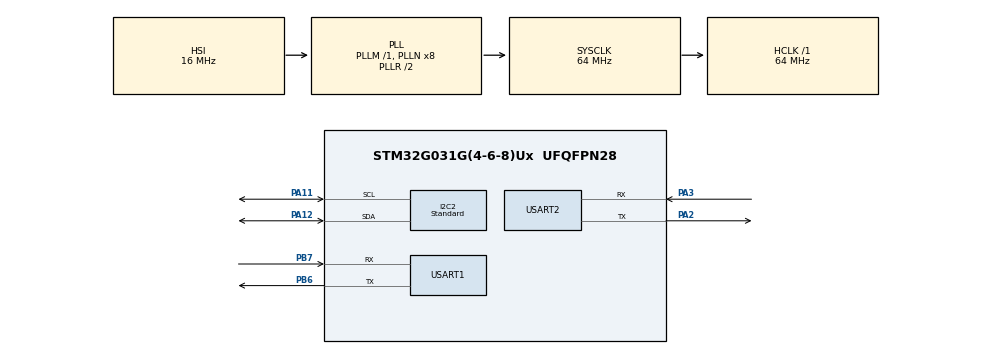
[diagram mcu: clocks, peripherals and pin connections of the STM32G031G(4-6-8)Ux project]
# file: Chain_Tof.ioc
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Dma.Request0=USART1_RX
Dma.Request1=USART1_TX
Dma.Request2=USART2_RX
Dma.Request3=USART2_TX
Dma.USART1_RX.0.Direction=DMA_PERIPH_TO_MEMORY
Dma.USART1_RX.0.EventEnable=DISABLE
Dma.USART1_RX.0.Instance=DMA1_Channel1
Dma.USART1_RX.0.MemDataAlignment=DMA_MDATAALIGN_BYTE
Dma.USART1_RX.0.MemInc=DMA_MINC_ENABLE
Dma.USART1_RX.0.Mode=DMA_NORMAL
Dma.USART1_RX.0.PeriphDataAlignment=DMA_PDATAALIGN_BYTE
Dma.USART1_RX.0.PeriphInc=DMA_PINC_DISABLE
Dma.USART1_RX.0.Polarity=HAL_DMAMUX_REQ_GEN_RISING
Dma.USART1_RX.0.Priority=DMA_PRIORITY_LOW
Dma.USART1_RX.0.RequestNumber=1
Dma.USART1_RX.0.SignalID=NONE
Dma.USART1_RX.0.SyncEnable=DISABLE
Dma.USART1_RX.0.SyncPolarity=HAL_DMAMUX_SYNC_NO_EVENT
Dma.USART1_RX.0.SyncRequestNumber=1
Dma.USART1_RX.0.SyncSignalID=NONE
Dma.USART1_TX.1.Direction=DMA_MEMORY_TO_PERIPH
Dma.USART1_TX.1.EventEnable=DISABLE
Dma.USART1_TX.1.Instance=DMA1_Channel2
Dma.USART1_TX.1.MemDataAlignment=DMA_MDATAALIGN_BYTE
Dma.USART1_TX.1.MemInc=DMA_MINC_ENABLE
Dma.USART1_TX.1.Mode=DMA_NORMAL
Dma.USART1_TX.1.PeriphDataAlignment=DMA_PDATAALIGN_BYTE
Dma.USART1_TX.1.PeriphInc=DMA_PINC_DISABLE
Dma.USART1_TX.1.Polarity=HAL_DMAMUX_REQ_GEN_RISING
Dma.USART1_TX.1.Priority=DMA_PRIORITY_LOW
Dma.USART1_TX.1.RequestNumber=1
Dma.USART1_TX.1.SignalID=NONE
Dma.USART1_TX.1.SyncEnable=DISABLE
Dma.USART1_TX.1.SyncPolarity=HAL_DMAMUX_SYNC_NO_EVENT
Dma.USART1_TX.1.SyncRequestNumber=1
Dma.USART1_TX.1.SyncSignalID=NONE
Dma.USART2_RX.2.Direction=DMA_PERIPH_TO_MEMORY
Dma.USART2_RX.2.EventEnable=DISABLE
Dma.USART2_RX.2.Instance=DMA1_Channel3
Dma.USART2_RX.2.MemDataAlignment=DMA_MDATAALIGN_BYTE
Dma.USART2_RX.2.MemInc=DMA_MINC_ENABLE
Dma.USART2_RX.2.Mode=DMA_NORMAL
Dma.USART2_RX.2.PeriphDataAlignment=DMA_PDATAALIGN_BYTE
Dma.USART2_RX.2.PeriphInc=DMA_PINC_DISABLE
Dma.USART2_RX.2.Polarity=HAL_DMAMUX_REQ_GEN_RISING
Dma.USART2_RX.2.Priority=DMA_PRIORITY_LOW
Dma.USART2_RX.2.RequestNumber=1
Dma.USART2_RX.2.SignalID=NONE
Dma.USART2_RX.2.SyncEnable=DISABLE
Dma.USART2_RX.2.SyncPolarity=HAL_DMAMUX_SYNC_NO_EVENT
Dma.USART2_RX.2.SyncRequestNumber=1
Dma.USART2_RX.2.SyncSignalID=NONE
Dma.USART2_TX.3.Direction=DMA_MEMORY_TO_PERIPH
Dma.USART2_TX.3.EventEnable=DISABLE
Dma.USART2_TX.3.Instance=DMA1_Channel4
Dma.USART2_TX.3.MemDataAlignment=DMA_MDATAALIGN_BYTE
Dma.USART2_TX.3.MemInc=DMA_MINC_ENABLE
Dma.USART2_TX.3.Mode=DMA_NORMAL
Dma.USART2_TX.3.PeriphDataAlignment=DMA_PDATAALIGN_BYTE
Dma.USART2_TX.3.PeriphInc=DMA_PINC_DISABLE
Dma.USART2_TX.3.Polarity=HAL_DMAMUX_REQ_GEN_RISING
Dma.USART2_TX.3.Priority=DMA_PRIORITY_LOW
Dma.USART2_TX.3.RequestNumber=1
Dma.USART2_TX.3.SignalID=NONE
Dma.USART2_TX.3.SyncEnable=DISABLE
Dma.USART2_TX.3.SyncPolarity=HAL_DMAMUX_SYNC_NO_EVENT
Dma.USART2_TX.3.SyncRequestNumber=1
Dma.USART2_TX.3.SyncSignalID=NONE
I2C2.I2C_Speed_Mode=I2C_Standard
I2C2.Timing=0x10707DBC
IWDG.Prescaler=IWDG_PRESCALER_16
Mcu.Family=STM32G0
Mcu.Name=STM32G031G(4-6-8)Ux
Mcu.Package=UFQFPN28
NVIC.DMA1_Ch4_5_DMAMUX1_OVR_IRQn=true\:1\:0\:true\:false\:true\:false\:true\:true
NVIC.DMA1_Channel1_IRQn=true\:1\:0\:true\:false\:true\:false\:true\:true
NVIC.DMA1_Channel2_3_IRQn=true\:1\:0\:true\:false\:true\:false\:true\:true
NVIC.FLASH_IRQn=true\:1\:0\:true\:false\:true\:true\:true\:true
NVIC.TIM14_IRQn=true\:1\:0\:true\:false\:true\:true\:true\:true
NVIC.TIM16_IRQn=true\:1\:0\:true\:false\:true\:true\:true\:true
NVIC.TIM17_IRQn=true\:1\:0\:true\:false\:true\:true\:true\:true
NVIC.USART1_IRQn=true\:0\:0\:false\:false\:true\:false\:true\:true
NVIC.USART2_IRQn=true\:0\:0\:false\:false\:true\:false\:true\:true
PA11\ [PA9].Mode=I2C
PA11\ [PA9].Signal=I2C2_SCL
PA12\ [PA10].Mode=I2C
PA12\ [PA10].Signal=I2C2_SDA
PA2.GPIO_PuPd=GPIO_PULLUP
PA2.GPIO_Speed=GPIO_SPEED_FREQ_HIGH
PA2.Mode=Asynchronous
PA2.PinState=GPIO_PIN_RESET
PA2.Signal=USART2_TX
PA3.GPIO_PuPd=GPIO_PULLUP
PA3.GPIO_Speed=GPIO_SPEED_FREQ_HIGH
PA3.Mode=Asynchronous
PA3.PinState=GPIO_PIN_RESET
PA3.Signal=USART2_RX
PB6.GPIO_PuPd=GPIO_PULLUP
PB6.GPIO_Speed=GPIO_SPEED_FREQ_HIGH
PB6.Mode=Asynchronous
PB6.Signal=USART1_TX
PB7.GPIO_PuPd=GPIO_PULLUP
PB7.GPIO_Speed=GPIO_SPEED_FREQ_HIGH
PB7.Mode=Asynchronous
PB7.Signal=USART1_RX
ProjectManager.HeapSize=0x200
ProjectManager.StackSize=0x400
ProjectManager.TargetToolchain=STM32CubeIDE
RCC.ADCFreq_Value=64000000
RCC.AHBFreq_Value=64000000
RCC.CortexFreq_Value=64000000
RCC.EXTERNAL_CLOCK_VALUE=12288000
RCC.HCLKFreq_Value=64000000
RCC.HSE_VALUE=8000000
RCC.HSI_VALUE=16000000
RCC.LSE_VALUE=32768
RCC.PLLQ=RCC_PLLQ_DIV4
RCC.SYSCLKFreq_VALUE=64000000
RCC.SYSCLKSource=RCC_SYSCLKSOURCE_PLLCLK
RCC.VCOOutputFreq_Value=128000000
TIM14.AutoReloadPreload=TIM_AUTORELOAD_PRELOAD_ENABLE
TIM14.Period=1699
TIM14.Prescaler=6399
TIM16.Period=29999
TIM16.Prescaler=6399
TIM17.Period=9999
TIM17.Prescaler=6399
USART1.VirtualMode-Asynchronous=VM_ASYNC
USART2.VirtualMode-Asynchronous=VM_ASYNC
VP_IWDG_VS_IWDG.Mode=IWDG_Activate
VP_TIM14_VS_ClockSourceINT.Mode=Enable_Timer
VP_TIM16_VS_ClockSourceINT.Mode=Enable_Timer
VP_TIM17_VS_ClockSourceINT.Mode=Enable_Timer
board=custom

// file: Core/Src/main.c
/* USER CODE BEGIN Header */
/**
 ******************************************************************************
 * @file           : main.c
 * @brief          : Main program body
 ******************************************************************************
 * @attention
 *
 * Copyright (c) 2024 STMicroelectronics.
 * All rights reserved.
 *
 * This software is licensed under terms that can be found in the LICENSE file
 * in the root directory of this software component.
 * If no LICENSE file comes with this software, it is provided AS-IS.
 *
 ******************************************************************************
 */
/* USER CODE END Header */
#include "main.h"
#include "dma.h"
#include "i2c.h"
#include "iwdg.h"
#include "tim.h"
#include "usart.h"
#include "gpio.h"

/* USER CODE BEGIN Includes */
#include "base_function.h"
#include "RGB.h"
#include "myflash.h"
#include "stdio.h"
#include <string.h>
#include <stdint.h>
#include "VL53L1X.h"
#include "tof_function.h"
/* USER CODE END Includes */

/* USER CODE BEGIN PM */
extern __IO uint16_t g_tof_distance;
extern __IO uint8_t g_tof_mode;
/* USER CODE END PM */

/* USER CODE BEGIN PV */
// DMA receive buffers
__IO uint8_t g_uart_in_rx_buf[UART_BUFFER_SIZE][BUFFER_SIZE * 2];  // uart_in receive buffer for DMA
__IO uint8_t g_uart_out_rx_buf[UART_BUFFER_SIZE][BUFFER_SIZE * 2]; // uart_out receive buffer for DMA

// Transmission status for UART
__IO uint8_t g_uart_in_rx_index = 0;  // Index for UART input (receiving) buffer position
__IO uint8_t g_uart_out_rx_index = 0; // Index for UART output (receiving) buffer position

// Transmission complete flags for UART
__IO uint8_t g_uart_in_transmit_complete = 1;  // Flag indicating if uart_in transmission is complete (1: complete)
__IO uint8_t g_uart_out_transmit_complete = 1; // Flag indicating if uart_out transmission is complete (1: complete)
__IO uint8_t g_cmd_buf[BUFFER_SIZE] = {0};
__IO uint8_t g_cmd_size = 0;
__IO uint8_t g_cmd_status = CMD_SPACE_IDLE_STATUS;
__IO uint8_t g_tail_status = CHAIN_TAIL_DEVICE;
__IO uint8_t g_heart_beat_record = 0;
__IO uint8_t g_bootloader_version = 0;
__IO uint8_t g_firmware_version = SOFTWARE_VERSION;
__IO uint16_t g_device_type =
    (uint8_t)((PRODUCT_TYPE_HIGH << 8) | PRODUCT_TYPE_LOW);
__IO uint8_t g_light = 0;

/* USER CODE END PV */

void SystemClock_Config(void);

/* USER CODE BEGIN 0 */
/**
 * @brief Set the Interrupt Vector Table for the application in SRAM.
 * @param None
 * @retval None
 */
void iap_set(void)
{
  uint8_t i; // Loop index
  uint32_t *pVecTab =
      (uint32_t *)(0x20000000); // Pointer to the vector table in SRAM

  // Copy the interrupt vector table from the application address to SRAM
  for (i = 0; i < 48; i++)
  {
    // Copy each vector entry to the SRAM vector table
    *(pVecTab++) = *(__IO uint32_t *)(APPLICATION_ADDRESS + (i << 2));
  }

  // Enable the SYSCFG peripheral clock
  __HAL_RCC_SYSCFG_CLK_ENABLE();

  // Remap the memory to use SRAM for the vector table
  __HAL_SYSCFG_REMAPMEMORY_SRAM();
}

/**
 * @brief Initialize the chain device settings.
 * @param None
 * @retval None
 */
void chain_init(void)
{
  // Get the version of the bootloader
  g_bootloader_version = get_bootloader_version();

  // Check if the TOF mode setting is set to maximum (0xFF)
  if (get_tof_mode() == 0xFF)
  {
    // Set the TOF mode to a base mode if it is maximum
    g_tof_mode = TOF_BASE_MODE;
    set_tof_mode(g_tof_mode);
  }
  else
  {
    // Otherwise, get the current TOF mode setting
    g_tof_mode = get_tof_mode();
  }

  // Check if the RGB light setting is set to maximum (0xFF)
  if (get_rgb_light() == 0xFF)
  {
    // Set the RGB light to a base color if it is maximum
    g_light = RGB_LIGHT_BASE;
    set_rgb_light(g_light);
  }
  else
  {
    // Otherwise, get the current RGB light setting
    g_light = get_rgb_light();
  }
}

/* USER CODE END 0 */

int main(void)
{

  /* USER CODE BEGIN 1 */
  iap_set();
  chain_init();
  /* USER CODE END 1 */

  /* MCU Configuration--------------------------------------------------------*/

  /* Reset of all peripherals, Initializes the Flash interface and the Systick. */
  HAL_Init();

  /* Configure the system clock */
  SystemClock_Config();

  /* Initialize all configured peripherals */
  MX_GPIO_Init();
  MX_DMA_Init();
  MX_USART1_UART_Init();
  MX_USART2_UART_Init();
  MX_IWDG_Init();
  MX_TIM14_Init();
  MX_TIM16_Init();
  MX_I2C2_Init();
  MX_TIM17_Init();
  /* USER CODE BEGIN 2 */
  rgb_init();
  HAL_Delay(1);
  LL_TIM_ClearFlag_UPDATE(TIM14); // Clear update TIM14
  LL_TIM_EnableIT_UPDATE(TIM14);  // ENABLE TIM14
  LL_TIM_EnableCounter(TIM14);    // ENABLE TIM14
  HAL_Delay(1);
  LL_TIM_ClearFlag_UPDATE(TIM17); // Clear update TIM17
  LL_TIM_EnableIT_UPDATE(TIM17);  // ENABLE TIM17
  LL_TIM_EnableCounter(TIM17);    // ENABLE TIM17
  HAL_Delay(1);
  LL_TIM_ClearFlag_UPDATE(TIM16); // Clear update TIM16
  LL_TIM_EnableIT_UPDATE(TIM16);  // ENABLE TIM16
  LL_TIM_EnableCounter(TIM16);    // ENABLE TIM16
  HAL_Delay(1);
  vl53l1xInit(g_tof_mode);
  /* USER CODE END 2 */

  /* Infinite loop */
  /* USER CODE BEGIN WHILE */
  while (1)
  {
    if (g_cmd_status == CMD_SPACE_BUSY_STATUS)
    {
      switch (g_cmd_buf[0])
      {
      case CHAIN_TOF_GET_DISTANCE:
        chain_tof_get_distance();
        break;
      case CHAIN_TOF_SET_MODE:
        chain_tof_set_mode(g_cmd_buf[1]);
        break;
      case CHAIN_TOF_GET_MODE:
        chain_tof_get_mode();
        break;
      case CHAIN_SET_RGB_VALUE:
        chain_set_rgb_value((uint8_t *)(g_cmd_buf + 1), (g_cmd_size - 1));
        break;
      case CHAIN_GET_RGB_VALUE:
        chain_get_rgb_value();
        break;
      case CHAIN_SET_RGB_LIGHT:
        chain_set_light_value(g_cmd_buf[1]);
        break;
      case CHAIN_GET_RGB_LIGHT:
        chain_get_light_value();
        break;
      case CHAIN_GET_BOOTLOADER_VERSION:
        chain_get_bootloader_version_handle();
        break;
      case CHAIN_GET_VERSION_DEVICE:
        chain_get_firmware_version_handle();
        break;
      case CHAIN_GET_DEVICE_TYPE:
        chain_get_device_type_handle();
        break;
      case CHAIN_IAP_UPDATE:
        chain_iap_update_handle(g_cmd_buf[1]);
        break;
      default:
        break;
      }
      g_cmd_status = CMD_SPACE_IDLE_STATUS;
    }
    /* USER CODE END WHILE */

    /* USER CODE BEGIN 3 */
    int16_t temp = getDistance();
    if (temp >= 0)
    {
      g_tof_distance = (uint16_t)temp;
    }
    LL_IWDG_ReloadCounter(IWDG);
  }
  /* USER CODE END 3 */
}

void SystemClock_Config(void)
{
  RCC_OscInitTypeDef RCC_OscInitStruct = {0};
  RCC_ClkInitTypeDef RCC_ClkInitStruct = {0};

  /** Configure the main internal regulator output voltage
  */
  HAL_PWREx_ControlVoltageScaling(PWR_REGULATOR_VOLTAGE_SCALE1);

  /** Initializes the RCC Oscillators according to the specified parameters
  * in the RCC_OscInitTypeDef structure.
  */
  RCC_OscInitStruct.OscillatorType = RCC_OSCILLATORTYPE_HSI|RCC_OSCILLATORTYPE_LSI;
  RCC_OscInitStruct.HSIState = RCC_HSI_ON;
  RCC_OscInitStruct.HSIDiv = RCC_HSI_DIV1;
  RCC_OscInitStruct.HSICalibrationValue = RCC_HSICALIBRATION_DEFAULT;
  RCC_OscInitStruct.LSIState = RCC_LSI_ON;
  RCC_OscInitStruct.PLL.PLLState = RCC_PLL_ON;
  RCC_OscInitStruct.PLL.PLLSource = RCC_PLLSOURCE_HSI;
  RCC_OscInitStruct.PLL.PLLM = RCC_PLLM_DIV1;
  RCC_OscInitStruct.PLL.PLLN = 8;
  RCC_OscInitStruct.PLL.PLLP = RCC_PLLP_DIV2;
  RCC_OscInitStruct.PLL.PLLQ = RCC_PLLQ_DIV4;
  RCC_OscInitStruct.PLL.PLLR = RCC_PLLR_DIV2;
  if (HAL_RCC_OscConfig(&RCC_OscInitStruct) != HAL_OK)
  {
    Error_Handler();
  }

  /** Initializes the CPU, AHB and APB buses clocks
  */
  RCC_ClkInitStruct.ClockType = RCC_CLOCKTYPE_HCLK|RCC_CLOCKTYPE_SYSCLK
                              |RCC_CLOCKTYPE_PCLK1;
  RCC_ClkInitStruct.SYSCLKSource = RCC_SYSCLKSOURCE_PLLCLK;
  RCC_ClkInitStruct.AHBCLKDivider = RCC_SYSCLK_DIV1;
  RCC_ClkInitStruct.APB1CLKDivider = RCC_HCLK_DIV1;

  if (HAL_RCC_ClockConfig(&RCC_ClkInitStruct, FLASH_LATENCY_2) != HAL_OK)
  {
    Error_Handler();
  }
}

void Error_Handler(void)
{
  __disable_irq();
  while (1)
  {
  }
}

#ifdef  USE_FULL_ASSERT
/**
  * @brief  Reports the name of the source file and the source line number
  *         where the assert_param error has occurred.
  * @param  file: pointer to the source file name
  * @param  line: assert_param error line source number
  * @retval None
  */
void assert_failed(uint8_t *file, uint32_t line)
{
  /* USER CODE BEGIN 6 */
  /* User can add his own implementation to report the file name and line
     number,
     ex: printf("Wrong parameters value: file %s on line %d\r\n", file, line) */
  /* USER CODE END 6 */
}
#endif /* USE_FULL_ASSERT */
